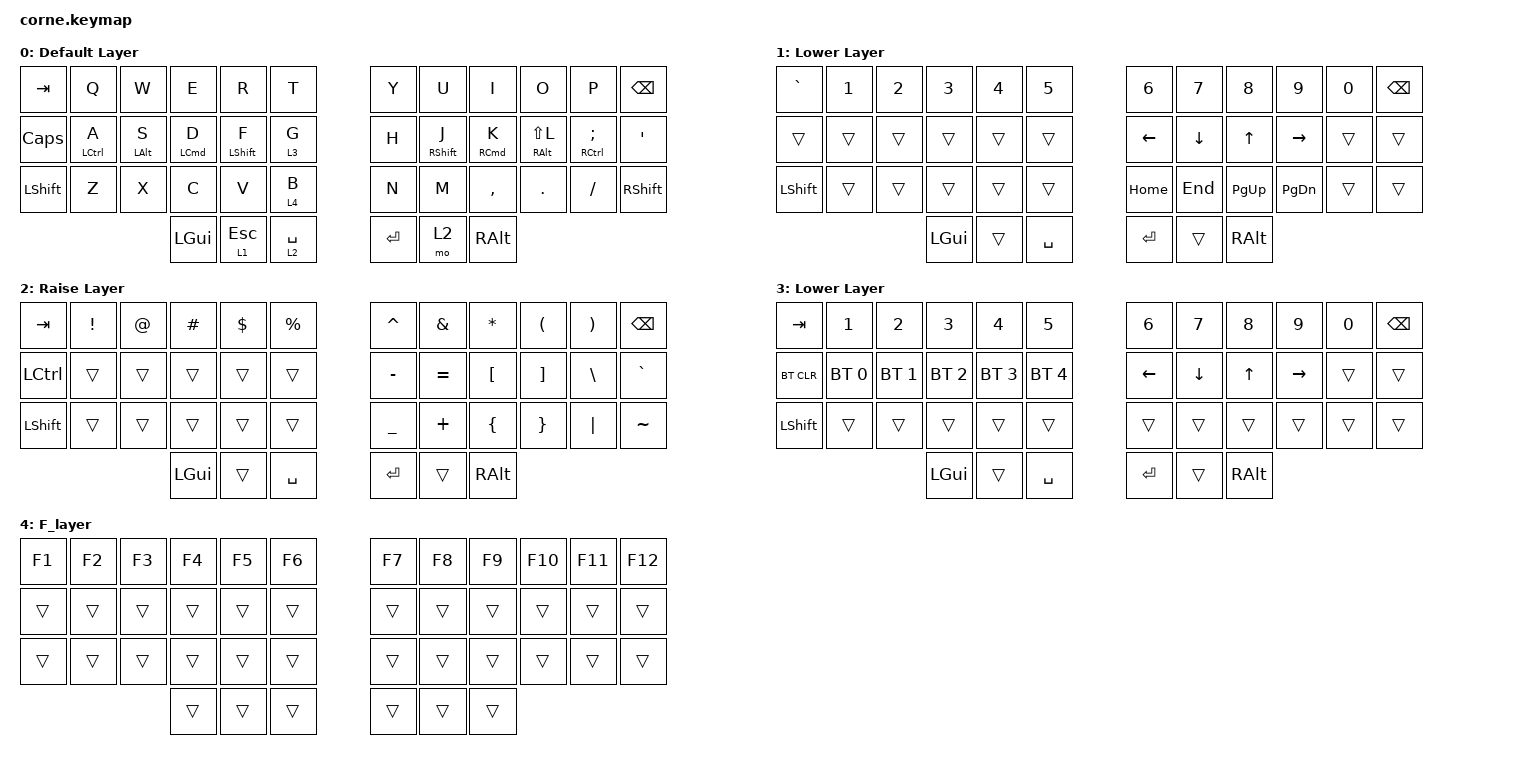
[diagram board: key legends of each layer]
/*
 * Copyright (c) 2020 The ZMK Contributors
 *
 * SPDX-License-Identifier: MIT
 */

#include <behaviors.dtsi>
#include <dt-bindings/zmk/bt.h>
#include <dt-bindings/zmk/keys.h>

/ {
    combos {
        compatible = "zmk,combos";

        left_parenthesis {
            bindings = <&kp LEFT_PARENTHESIS>;
            key-positions = <3 4>;
        };

        Right_parenthesis {
            bindings = <&kp RIGHT_PARENTHESIS>;
            key-positions = <7 8>;
        };

        Left_Bracket {
            bindings = <&kp LEFT_BRACKET>;
            key-positions = <3 2>;
        };

        Right_Bracket {
            bindings = <&kp RIGHT_BRACKET>;
            key-positions = <8 9>;
        };

        Left_Brace {
            bindings = <&kp LEFT_BRACE>;
            key-positions = <2 1>;
        };

        Right_Brace {
            bindings = <&kp RIGHT_BRACE>;
            key-positions = <9 10>;
        };

        Asterisk {
            bindings = <&kp ASTERISK>;
            key-positions = <5 6>;
        };

        Plus {
            bindings = <&kp PLUS>;
            key-positions = <4 7>;
        };

        Minus {
            bindings = <&kp MINUS>;
            key-positions = <3 8>;
        };

        Equal {
            bindings = <&kp EQUAL>;
            key-positions = <17 18>;
        };

        Dollar {
            bindings = <&kp DOLLAR>;
            key-positions = <29 30>;
        };

        Ampersand {
            bindings = <&kp AMPERSAND>;
            key-positions = <28 31>;
        };

        Pipe {
            bindings = <&kp PIPE>;
            key-positions = <30 31>;
        };

        Exclamation {
            bindings = <&kp EXCLAMATION>;
            key-positions = <29 28>;
        };
    };

    keymap {
        compatible = "zmk,keymap";

        default_layer {
            display-name = "Default Layer";

            // -----------------------------------------------------------------------------------------
            // |  TAB |  Q  |  W  |  E  |  R  |  T  |   |  Y  |  U   |  I  |  O  |  P  | BSPC |
            // | CTRL |  A  |  S  |  D  |  F  |  G  |   |  H  |  J   |  K  |  L  |  ;  |  '   |
            // | SHFT |  Z  |  X  |  C  |  V  |  B  |   |  N  |  M   |  ,  |  .  |  /  | ESC  |
            //                    | GUI | LWR | SPC |   | ENT | RSE  | ALT |

            bindings = <
&kp TAB    &kp Q        &kp W           &kp E               &kp R             &kp T          &kp Y    &kp U              &kp I                &kp O                &kp P           &kp BSPC
&kp CAPS   &mt LCTRL A  &mt LEFT_ALT S  &mt LEFT_COMMAND D  &mt LEFT_SHIFT F  &lt 3 G        &kp H    &mt RIGHT_SHIFT J  &mt RIGHT_COMMAND K  &mt RIGHT_ALT LS(L)  &mt RCTRL SEMI  &kp SQT
&kp LSHFT  &kp Z        &kp X           &kp C               &kp V             &lt 4 B        &kp N    &kp M              &kp COMMA            &kp DOT              &kp FSLH        &kp RIGHT_SHIFT
                                        &kp LGUI            &lt 1 ESCAPE      &lt 2 SPACE    &kp RET  &mo 2              &kp RALT
            >;
        };

        fn_arrow_layer {
            display-name = "Lower Layer";

            // -----------------------------------------------------------------------------------------
            // |  TAB |  1  |  2  |  3  |  4  |  5  |   |  6  |  7  |  8  |  9  |  0  | BSPC |
            // | BTCLR| BT1 | BT2 | BT3 | BT4 | BT5 |   | LFT | DWN |  UP | RGT |     |      |
            // | SHFT |     |     |     |     |     |   |     |     |     |     |     |      |
            //                    | GUI |     | SPC |   | ENT |     | ALT |

            bindings = <
&kp GRAVE  &kp NUMBER_1  &kp NUMBER_2  &kp NUMBER_3  &kp NUMBER_4  &kp N5       &kp N6    &kp N7    &kp N8       &kp N9         &kp N0  &kp BSPC
&trans     &trans        &trans        &trans        &trans        &trans       &kp LEFT  &kp DOWN  &kp UP       &kp RIGHT      &trans  &trans
&kp LSHFT  &trans        &trans        &trans        &trans        &trans       &kp HOME  &kp END   &kp PAGE_UP  &kp PAGE_DOWN  &trans  &trans
                                       &kp LGUI      &trans        &kp SPACE    &kp RET   &trans    &kp RALT
            >;
        };

        raise_layer {
            display-name = "Raise Layer";

            // -----------------------------------------------------------------------------------------
            // |  TAB |  !  |  @  |  #  |  $  |  %  |   |  ^  |  &  |  *  |  (  |  )  | BSPC |
            // | CTRL |     |     |     |     |     |   |  -  |  =  |  [  |  ]  |  \  |  `   |
            // | SHFT |     |     |     |     |     |   |  _  |  +  |  {  |  }  | "|" |  ~   |
            //                    | GUI |     | SPC |   | ENT |     | ALT |

            bindings = <
&kp TAB    &kp EXCL  &kp AT  &kp HASH  &kp DLLR  &kp PRCNT    &kp CARET  &kp AMPS   &kp ASTRK  &kp LPAR  &kp RPAR  &kp BSPC
&kp LCTRL  &trans    &trans  &trans    &trans    &trans       &kp MINUS  &kp EQUAL  &kp LBKT   &kp RBKT  &kp BSLH  &kp GRAVE
&kp LSHFT  &trans    &trans  &trans    &trans    &trans       &kp UNDER  &kp PLUS   &kp LBRC   &kp RBRC  &kp PIPE  &kp TILDE
                             &kp LGUI  &trans    &kp SPACE    &kp RET    &trans     &kp RALT
            >;
        };

        BT_layer {
            display-name = "Lower Layer";
            bindings = <
&kp TAB     &kp N1        &kp N2        &kp N3        &kp N4        &kp N5          &kp N6    &kp N7    &kp N8    &kp N9     &kp N0  &kp BSPC
&bt BT_CLR  &bt BT_SEL 0  &bt BT_SEL 1  &bt BT_SEL 2  &bt BT_SEL 3  &bt BT_SEL 4    &kp LEFT  &kp DOWN  &kp UP    &kp RIGHT  &trans  &trans
&kp LSHFT   &trans        &trans        &trans        &trans        &trans          &trans    &trans    &trans    &trans     &trans  &trans
                                        &kp LGUI      &trans        &kp SPACE       &kp RET   &trans    &kp RALT
            >;
        };

        F_layer {
            bindings = <
&kp F1  &kp F2  &kp F3  &kp F4  &kp F5  &kp F6    &kp F7  &kp F8  &kp F9  &kp F10  &kp F11  &kp F12
&trans  &trans  &trans  &trans  &trans  &trans    &trans  &trans  &trans  &trans   &trans   &trans
&trans  &trans  &trans  &trans  &trans  &trans    &trans  &trans  &trans  &trans   &trans   &trans
                        &trans  &trans  &trans    &trans  &trans  &trans
            >;
        };
    };
};
